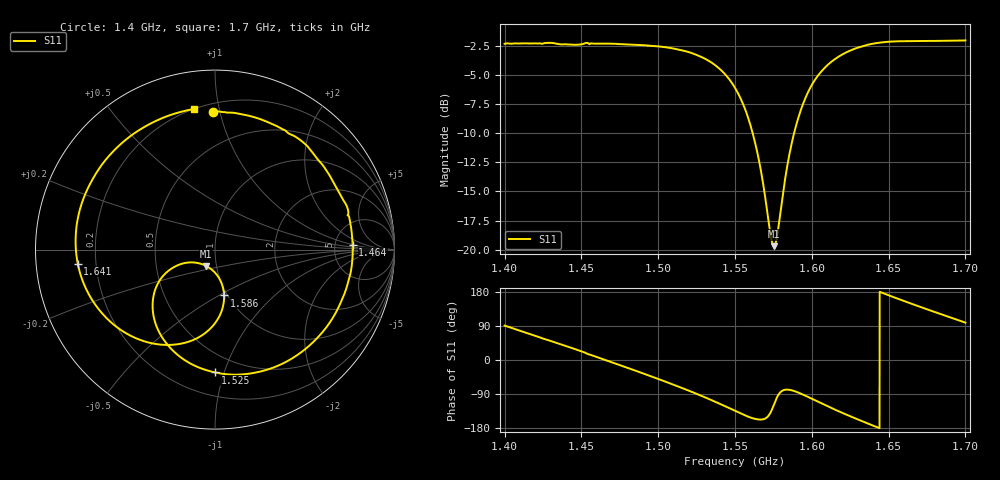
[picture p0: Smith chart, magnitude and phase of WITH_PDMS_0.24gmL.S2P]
!Keysight Technologies,E5063A,MY54503975,A.05.08
!Date: Fri Mar 07 05:27:13 2025
!Data & Calibration Information:
!Freq	S11:NONE(--)	S21:RESPT(ON)	S12:NONE(--)	S22:NONE(--)
# Hz S RI R 50
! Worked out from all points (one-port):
!   3001 points, 1.4 GHz to 1.7 GHz, reference 50 ohm
!   lowest |S11| = -19.7 dB at 1.575 GHz (marker M1), VSWR 1.23, Z = 44.6 - j8.21 ohm
!   |S11| at or under -10 dB: 1.562 GHz to 1.588 GHz (26.93 MHz wide, 1.71 % of centre)
!   S11 on the Smith chart (normalised r, x): 1.4 GHz: 0.26, +0.95; 1.464 GHz: 7.49, +0.94; 1.525 GHz: 0.36, -0.93; 1.586 GHz: 0.96, -0.53; 1.641 GHz: 0.13, -0.05; 1.7 GHz: 0.20, +0.84
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1.4e9  -0.0104 0.7664  -0 -0  0 0  0 0
1.4275e9  0.4601 0.6212  0 -0  0 0  0 0
1.45e9  0.7024 0.2965  -0 0  0 0  0 0
1.4642e9  0.7672 0.0258  -0 0  0 0  0 0
1.4821e9  0.6957 -0.3055  -0 0  0 0  0 0
1.5e9  0.4799 -0.5722  0 -0  0 0  0 0
1.5132e9  0.2448 -0.6813  0 0  0 0  0 0
1.5254e9  0.00105 -0.6846  0 0  0 0  0 0
1.537e9  -0.2117 -0.5836  0 0  0 0  0 0
1.55e9  -0.3447 -0.3561  0 -0  0 0  0 0
1.5625e9  -0.27 -0.127  0 0  0 0  0 0
1.5753e9  -0.0492 -0.0911  0 0  0 0  0 0
1.5776e9  -0.013 -0.1159  0 0  0 0  0 0
1.5856e9  0.0505 -0.2552  0 0  0 0  0 0
1.6e9  -0.1093 -0.4982  0 -0  0 0  0 0
1.6084e9  -0.2896 -0.5303  0 -0  0 0  0 0
1.6175e9  -0.4801 -0.4747  -0 0  0 0  0 0
1.6295e9  -0.6726 -0.2989  -0 0  0 0  0 0
1.6405e9  -0.7647 -0.078  -0 -0  0 0  0 0
1.65e9  -0.772 0.1249  -0 -0  0 0  0 0
1.6762e9  -0.5283 0.5852  -0 -0  0 0  0 0
1.7e9  -0.1185 0.7832  -0 -0  0 0  0 0
